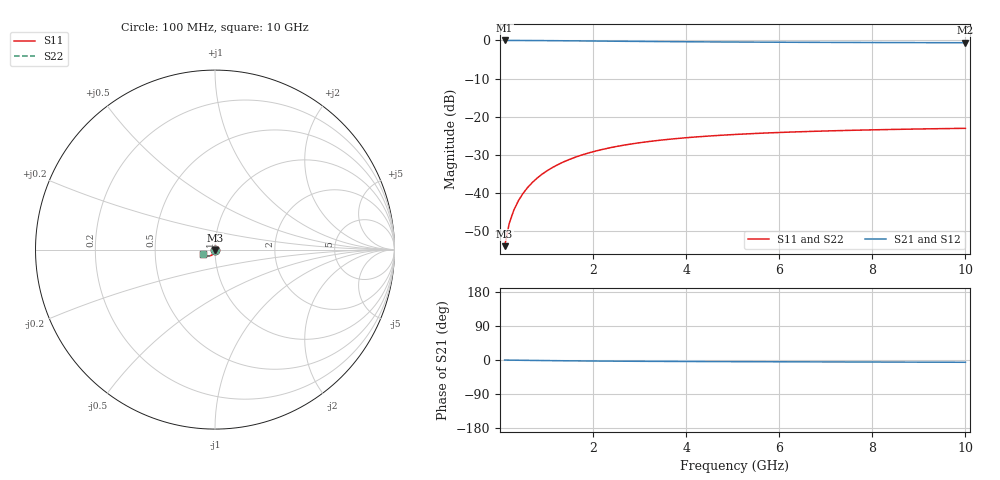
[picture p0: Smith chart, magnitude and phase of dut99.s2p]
! Touchstone file exported from HFSS 2024.1.0
!  File:  C:/UserFiles/LocalFiles/RDL_TSV_Batchsim/temp_TSV1_99_1779376797.aedt
!  Generated:  11:25:14 PM May 21, 2026
!  Design:  TSV1
!  Project:  temp_TSV1_99_1779376797
!  Setup:  Setup1
!  Solution:  Sweep
! Variables:
!  dtsv = 13.44um
!  hbump = 3um
!  htsv = 93.27um
!  lrdl = 252.1521522um
!  p = 40
!  p1 = 47.78um
!  t = 500um
!  trdl = 3um
!  wrdl = 24.89489489um
# GHz S MA R 50.000000
! Terminal data exported
! Port[1] = TSV22_T1
! Port[2] = TSV22_T2
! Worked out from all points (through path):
!   100 points, 100 MHz to 10 GHz, reference 50 ohm
!   highest |S21| = 0.00 dB at 100 MHz (marker M1); lowest = -0.6 dB at 10 GHz (marker M2)
!   lowest |S11| = -54.1 dB at 100 MHz (marker M3), VSWR 1.00, Z = 50 - j0.198 ohm
!   |S11| at or under -10 dB: start of sweep to end of sweep
!   |S22| runs from -54.1 to -23.1 dB; largest |S21 - S12| = 8e-15
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0.1  0.001982 -88.8  0.9998 -0.2  0.9998 -0.2  0.001982 -88.8
! Gamma 0 0 0 0
! Port Impedance 50 0 50 0
0.2  0.003962 -91.7  0.9997 -0.3  0.9997 -0.3  0.003962 -91.7
0.3  0.005941 -93.8  0.9993 -0.5  0.9993 -0.5  0.005941 -93.8
0.4  0.007909 -95.6  0.9989 -0.6  0.9989 -0.6  0.007909 -95.6
0.5  0.009861 -97.4  0.9984 -0.8  0.9984 -0.8  0.009861 -97.4
0.6  0.01179 -99.1  0.9978 -0.9  0.9978 -0.9  0.01179 -99.1
0.7  0.01369 -100.8  0.9971 -1.1  0.9971 -1.1  0.01369 -100.8
0.8  0.01555 -102.5  0.9963 -1.2  0.9963 -1.2  0.01555 -102.5
0.9  0.01738 -104.1  0.9955 -1.4  0.9955 -1.4  0.01738 -104.1
1.1  0.02092 -107.2  0.9936 -1.7  0.9936 -1.7  0.02092 -107.2
1.4  0.02588 -111.7  0.9903 -2.0  0.9903 -2.0  0.02588 -111.7
1.6  0.02895 -114.4  0.988 -2.3  0.988 -2.3  0.02895 -114.4
1.8  0.03182 -117.1  0.9856 -2.5  0.9856 -2.5  0.03182 -117.1
2.1  0.03577 -120.8  0.9819 -2.7  0.9819 -2.7  0.03577 -120.8
2.5  0.0404 -125.2  0.977 -3.1  0.977 -3.1  0.0404 -125.2
2.9  0.04438 -129.2  0.9724 -3.3  0.9724 -3.3  0.04438 -129.2
3.4  0.04858 -133.6  0.967 -3.6  0.967 -3.6  0.04858 -133.6
4.2  0.05389 -139.4  0.9597 -4.0  0.9597 -4.0  0.05389 -139.4
5.1  0.05837 -144.7  0.9531 -4.4  0.9531 -4.4  0.05837 -144.7
6.7  0.06387 -151.8  0.9444 -4.9  0.9444 -4.9  0.06387 -151.8
8.4  0.06765 -157.4  0.9381 -5.5  0.9381 -5.5  0.06765 -157.4
10  0.07007 -161.6  0.9339 -6.0  0.9339 -6.0  0.07007 -161.6
